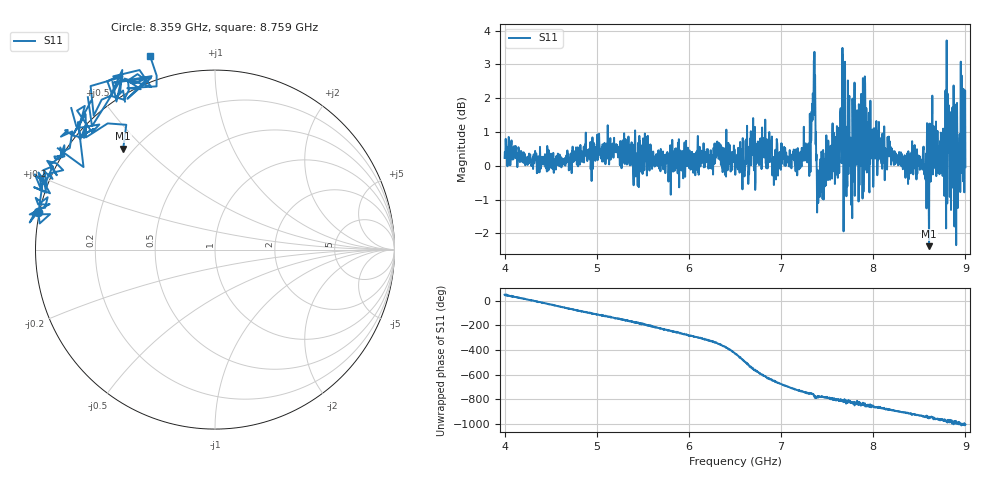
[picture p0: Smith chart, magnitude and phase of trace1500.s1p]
! Created with skrf 1.8.0 (http://scikit-rf.org).
# Hz S RI R 50.0
!freq ReS11 ImS11
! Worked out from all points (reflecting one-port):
!   1601 points, 4 GHz to 9 GHz, reference 50 ohm
!   lowest |S11| = -2.4 dB at 8.606 GHz (marker M1), VSWR 7.35, Z = 8.11 + j21.6 ohm
!   phase of S11 starts at 50 deg and turns -1054 deg over the sweep
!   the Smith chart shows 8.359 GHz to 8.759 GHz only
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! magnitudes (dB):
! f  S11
! 4 GHz  0.2
! 4.625 GHz  0.0
! 5.25 GHz  0.0
! 5.875 GHz  0.2
! 6.5 GHz  0.1
! 6.691 GHz  0.8
! 7.125 GHz  0.2
! 7.294 GHz  0.4
! 7.347 GHz  2.0
! 7.362 GHz  3.4
! 7.409 GHz  -0.3
! 7.609 GHz  0.6
! 7.65 GHz  1.1
! 7.75 GHz  0.0
! 7.769 GHz  -0.1
! 7.822 GHz  1.3
! 7.875 GHz  0.4
! 7.928 GHz  0.8
! 7.981 GHz  0.4
! 8.05 GHz  1.0
! 8.375 GHz  -0.1
! 8.606 GHz  -2.4
! 8.656 GHz  1.2
! 8.766 GHz  0.9
! 8.819 GHz  0.4
! 8.906 GHz  0.4
! 8.972 GHz  0.5
! 9 GHz  0.0
